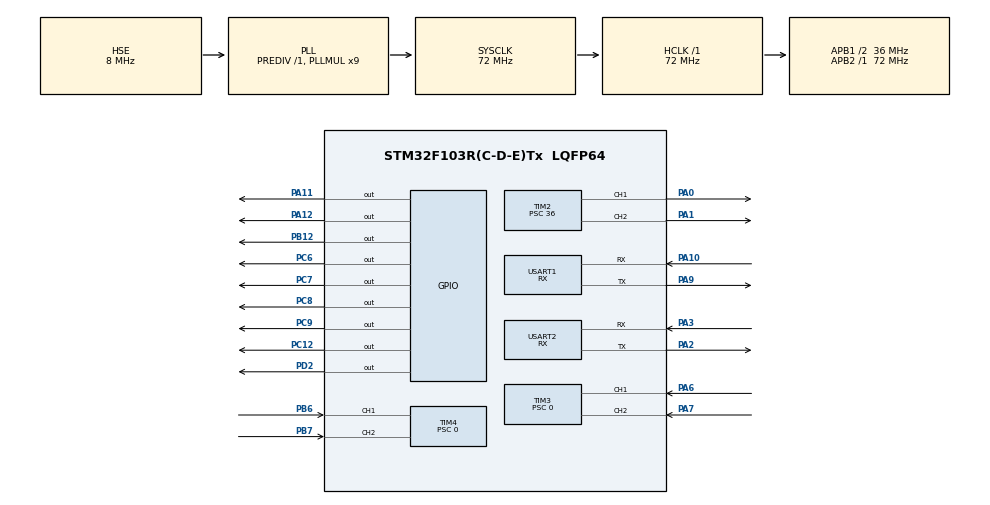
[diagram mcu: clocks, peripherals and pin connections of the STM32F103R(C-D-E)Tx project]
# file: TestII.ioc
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Dma.Request0=USART1_RX
Dma.Request1=USART2_RX
Dma.USART1_RX.0.Direction=DMA_PERIPH_TO_MEMORY
Dma.USART1_RX.0.Instance=DMA1_Channel5
Dma.USART1_RX.0.MemDataAlignment=DMA_MDATAALIGN_BYTE
Dma.USART1_RX.0.MemInc=DMA_MINC_ENABLE
Dma.USART1_RX.0.Mode=DMA_CIRCULAR
Dma.USART1_RX.0.PeriphDataAlignment=DMA_PDATAALIGN_BYTE
Dma.USART1_RX.0.PeriphInc=DMA_PINC_DISABLE
Dma.USART1_RX.0.Priority=DMA_PRIORITY_HIGH
Dma.USART2_RX.1.Direction=DMA_PERIPH_TO_MEMORY
Dma.USART2_RX.1.Instance=DMA1_Channel6
Dma.USART2_RX.1.MemDataAlignment=DMA_MDATAALIGN_BYTE
Dma.USART2_RX.1.MemInc=DMA_MINC_ENABLE
Dma.USART2_RX.1.Mode=DMA_CIRCULAR
Dma.USART2_RX.1.PeriphDataAlignment=DMA_PDATAALIGN_BYTE
Dma.USART2_RX.1.PeriphInc=DMA_PINC_DISABLE
Dma.USART2_RX.1.Priority=DMA_PRIORITY_HIGH
Mcu.Family=STM32F1
Mcu.Name=STM32F103R(C-D-E)Tx
Mcu.Package=LQFP64
NVIC.DMA1_Channel5_IRQn=true\:1\:0\:true\:false\:true
NVIC.DMA1_Channel6_IRQn=true\:1\:0\:true\:false\:true
NVIC.PriorityGroup=NVIC_PRIORITYGROUP_2
PA0-WKUP.GPIO_Speed=GPIO_SPEED_FREQ_HIGH
PA0-WKUP.Signal=S_TIM2_CH1_ETR
PA1.GPIO_Speed=GPIO_SPEED_FREQ_HIGH
PA1.Signal=S_TIM2_CH2
PA10.Mode=Asynchronous
PA10.Signal=USART1_RX
PA11.GPIO_Speed=GPIO_SPEED_FREQ_HIGH
PA11.Signal=GPIO_Output
PA12.GPIO_Speed=GPIO_SPEED_FREQ_HIGH
PA12.Signal=GPIO_Output
PA13.Mode=Serial_Wire
PA13.Signal=SYS_JTMS-SWDIO
PA14.Mode=Serial_Wire
PA14.Signal=SYS_JTCK-SWCLK
PA2.Mode=Asynchronous
PA2.Signal=USART2_TX
PA3.Mode=Asynchronous
PA3.Signal=USART2_RX
PA6.Signal=S_TIM3_CH1
PA7.Signal=S_TIM3_CH2
PA9.Mode=Asynchronous
PA9.Signal=USART1_TX
PB12.GPIO_Speed=GPIO_SPEED_FREQ_HIGH
PB12.Signal=GPIO_Output
PB6.Signal=S_TIM4_CH1
PB7.Signal=S_TIM4_CH2
PC12.GPIO_Speed=GPIO_SPEED_FREQ_HIGH
PC12.Signal=GPIO_Output
PC6.GPIO_Speed=GPIO_SPEED_FREQ_HIGH
PC6.Signal=GPIO_Output
PC7.GPIO_Speed=GPIO_SPEED_FREQ_HIGH
PC7.Signal=GPIO_Output
PC8.GPIO_Speed=GPIO_SPEED_FREQ_HIGH
PC8.Signal=GPIO_Output
PC9.GPIO_Speed=GPIO_SPEED_FREQ_HIGH
PC9.Signal=GPIO_Output
PD0-OSC_IN.Mode=HSE-External-Oscillator
PD0-OSC_IN.Signal=RCC_OSC_IN
PD1-OSC_OUT.Mode=HSE-External-Oscillator
PD1-OSC_OUT.Signal=RCC_OSC_OUT
PD2.GPIO_Speed=GPIO_SPEED_FREQ_HIGH
PD2.Signal=GPIO_Output
ProjectManager.HeapSize=0x200
ProjectManager.StackSize=0x400
ProjectManager.TargetToolchain=MDK-ARM V5
RCC.AHBFreq_Value=72000000
RCC.APB1CLKDivider=RCC_HCLK_DIV2
RCC.APB1Freq_Value=36000000
RCC.APB1TimFreq_Value=72000000
RCC.APB2Freq_Value=72000000
RCC.APB2TimFreq_Value=72000000
RCC.HCLKFreq_Value=72000000
RCC.HSIState=RCC_HSI_ON
RCC.PLLMUL=RCC_PLL_MUL9
RCC.PLLSourceVirtual=RCC_PLLSOURCE_HSE
RCC.SYSCLKFreq_VALUE=72000000
RCC.SYSCLKSource=RCC_SYSCLKSOURCE_PLLCLK
RCC.USBFreq_Value=72000000
SH.S_TIM2_CH1_ETR.0=TIM2_CH1,PWM Generation1 CH1
SH.S_TIM2_CH2.0=TIM2_CH2,PWM Generation2 CH2
SH.S_TIM3_CH1.0=TIM3_CH1,Encoder_Interface
SH.S_TIM3_CH2.0=TIM3_CH2,Encoder_Interface
SH.S_TIM4_CH1.0=TIM4_CH1,Encoder_Interface
SH.S_TIM4_CH2.0=TIM4_CH2,Encoder_Interface
TIM2.Channel-PWM\ Generation2\ CH2=TIM_CHANNEL_2
TIM2.Period=1560
TIM2.Prescaler=36
TIM2.Pulse-PWM\ Generation1\ CH1=0
TIM2.Pulse-PWM\ Generation2\ CH2=0
TIM3.CounterMode=TIM_COUNTERMODE_UP
TIM3.EncoderMode=TIM_ENCODERMODE_TI12
TIM3.IC1Filter=15
TIM3.IC1Polarity=TIM_ICPOLARITY_BOTHEDGE
TIM3.IC2Filter=15
TIM3.IC2Polarity=TIM_ICPOLARITY_BOTHEDGE
TIM3.Period=10000
TIM3.Prescaler=0
TIM4.EncoderMode=TIM_ENCODERMODE_TI12
TIM4.IC1Filter=15
TIM4.IC1Polarity=TIM_ICPOLARITY_BOTHEDGE
TIM4.IC2Filter=15
TIM4.IC2Polarity=TIM_ICPOLARITY_BOTHEDGE
TIM4.Period=10000
TIM4.Prescaler=0
USART1.Mode=MODE_RX
USART2.Mode=MODE_RX
board=TestII

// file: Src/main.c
/**
  ******************************************************************************
  * File Name          : main.c
  * Description        : Main program body
  ******************************************************************************
  *
  * COPYRIGHT(c) 2016 STMicroelectronics
  *
  * Redistribution and use in source and binary forms, with or without modification,
  * are permitted provided that the following conditions are met:
  *   1. Redistributions of source code must retain the above copyright notice,
  *      this list of conditions and the following disclaimer.
  *   2. Redistributions in binary form must reproduce the above copyright notice,
  *      this list of conditions and the following disclaimer in the documentation
  *      and/or other materials provided with the distribution.
  *   3. Neither the name of STMicroelectronics nor the names of its contributors
  *      may be used to endorse or promote products derived from this software
  *      without specific prior written permission.
  *
  * THIS SOFTWARE IS PROVIDED BY THE COPYRIGHT HOLDERS AND CONTRIBUTORS "AS IS"
  * AND ANY EXPRESS OR IMPLIED WARRANTIES, INCLUDING, BUT NOT LIMITED TO, THE
  * IMPLIED WARRANTIES OF MERCHANTABILITY AND FITNESS FOR A PARTICULAR PURPOSE ARE
  * DISCLAIMED. IN NO EVENT SHALL THE COPYRIGHT HOLDER OR CONTRIBUTORS BE LIABLE
  * FOR ANY DIRECT, INDIRECT, INCIDENTAL, SPECIAL, EXEMPLARY, OR CONSEQUENTIAL
  * DAMAGES (INCLUDING, BUT NOT LIMITED TO, PROCUREMENT OF SUBSTITUTE GOODS OR
  * SERVICES; LOSS OF USE, DATA, OR PROFITS; OR BUSINESS INTERRUPTION) HOWEVER
  * CAUSED AND ON ANY THEORY OF LIABILITY, WHETHER IN CONTRACT, STRICT LIABILITY,
  * OR TORT (INCLUDING NEGLIGENCE OR OTHERWISE) ARISING IN ANY WAY OUT OF THE USE
  * OF THIS SOFTWARE, EVEN IF ADVISED OF THE POSSIBILITY OF SUCH DAMAGE.
  *
  ******************************************************************************
  */
#include "main.h"
#include "stm32f1xx_hal.h"
#include "dma.h"
#include "tim.h"
#include "usart.h"
#include "gpio.h"

/* USER CODE BEGIN Includes */
#include "delay.h"
#include "parseJY.h"
#include "motor_cont.h"
#include "imuPID.h"

/* USER CODE END Includes */

/* USER CODE BEGIN PV */
/* Private variables ---------------------------------------------------------*/
//static uint8_t uwbData[10];

/* USER CODE END PV */

void SystemClock_Config(void);
void Error_Handler(void);

/* USER CODE BEGIN PFP */
/* Private function prototypes -----------------------------------------------*/

/* USER CODE END PFP */

int main(void)
{

  /* MCU Configuration----------------------------------------------------------*/

  /* Reset of all peripherals, Initializes the Flash interface and the Systick. */
  HAL_Init();

  /* Configure the system clock */
  SystemClock_Config();

  /* Initialize all configured peripherals */
  MX_GPIO_Init();
  MX_DMA_Init();
  MX_TIM2_Init();
  MX_TIM3_Init();
  MX_TIM4_Init();
  MX_USART1_UART_Init();
  MX_USART2_UART_Init();

  /* USER CODE BEGIN 2 */
	initJY();

	HAL_TIM_PWM_Start(&htim2, TIM_CHANNEL_1);
	HAL_TIM_PWM_Start(&htim2, TIM_CHANNEL_2);

	HAL_TIM_Encoder_Start(&htim3, TIM_CHANNEL_1);
	HAL_TIM_Encoder_Start(&htim3, TIM_CHANNEL_2);

	HAL_TIM_Encoder_Start(&htim4, TIM_CHANNEL_1);
	HAL_TIM_Encoder_Start(&htim4, TIM_CHANNEL_2);

	DelayMS(5000);
	HAL_GPIO_WritePin(GPIOD, GPIO_PIN_2, GPIO_PIN_SET); //Debug led.

	car_Awake();
	car_FastDecay();

	car_Turnto(1.0);

  /* USER CODE END 2 */

  /* Infinite loop */
  while (1)
  {

  }

}

/** System Clock Configuration
*/
void SystemClock_Config(void)
{

  RCC_OscInitTypeDef RCC_OscInitStruct;
  RCC_ClkInitTypeDef RCC_ClkInitStruct;

    /**Initializes the CPU, AHB and APB busses clocks
    */
  RCC_OscInitStruct.OscillatorType = RCC_OSCILLATORTYPE_HSE;
  RCC_OscInitStruct.HSEState = RCC_HSE_ON;
  RCC_OscInitStruct.HSEPredivValue = RCC_HSE_PREDIV_DIV1;
  RCC_OscInitStruct.HSIState = RCC_HSI_ON;
  RCC_OscInitStruct.PLL.PLLState = RCC_PLL_ON;
  RCC_OscInitStruct.PLL.PLLSource = RCC_PLLSOURCE_HSE;
  RCC_OscInitStruct.PLL.PLLMUL = RCC_PLL_MUL9;
  if (HAL_RCC_OscConfig(&RCC_OscInitStruct) != HAL_OK)
  {
    Error_Handler();
  }

    /**Initializes the CPU, AHB and APB busses clocks
    */
  RCC_ClkInitStruct.ClockType = RCC_CLOCKTYPE_HCLK|RCC_CLOCKTYPE_SYSCLK
                              |RCC_CLOCKTYPE_PCLK1|RCC_CLOCKTYPE_PCLK2;
  RCC_ClkInitStruct.SYSCLKSource = RCC_SYSCLKSOURCE_PLLCLK;
  RCC_ClkInitStruct.AHBCLKDivider = RCC_SYSCLK_DIV1;
  RCC_ClkInitStruct.APB1CLKDivider = RCC_HCLK_DIV2;
  RCC_ClkInitStruct.APB2CLKDivider = RCC_HCLK_DIV1;

  if (HAL_RCC_ClockConfig(&RCC_ClkInitStruct, FLASH_LATENCY_2) != HAL_OK)
  {
    Error_Handler();
  }

    /**Configure the Systick interrupt time
    */
  HAL_SYSTICK_Config(HAL_RCC_GetHCLKFreq()/1000);

    /**Configure the Systick
    */
  HAL_SYSTICK_CLKSourceConfig(SYSTICK_CLKSOURCE_HCLK);

  /* SysTick_IRQn interrupt configuration */
  HAL_NVIC_SetPriority(SysTick_IRQn, 0, 1);
}

void Error_Handler(void)
{
  while(1)
  {
  }
}

/************************ (C) COPYRIGHT STMicroelectronics *****END OF FILE****/
